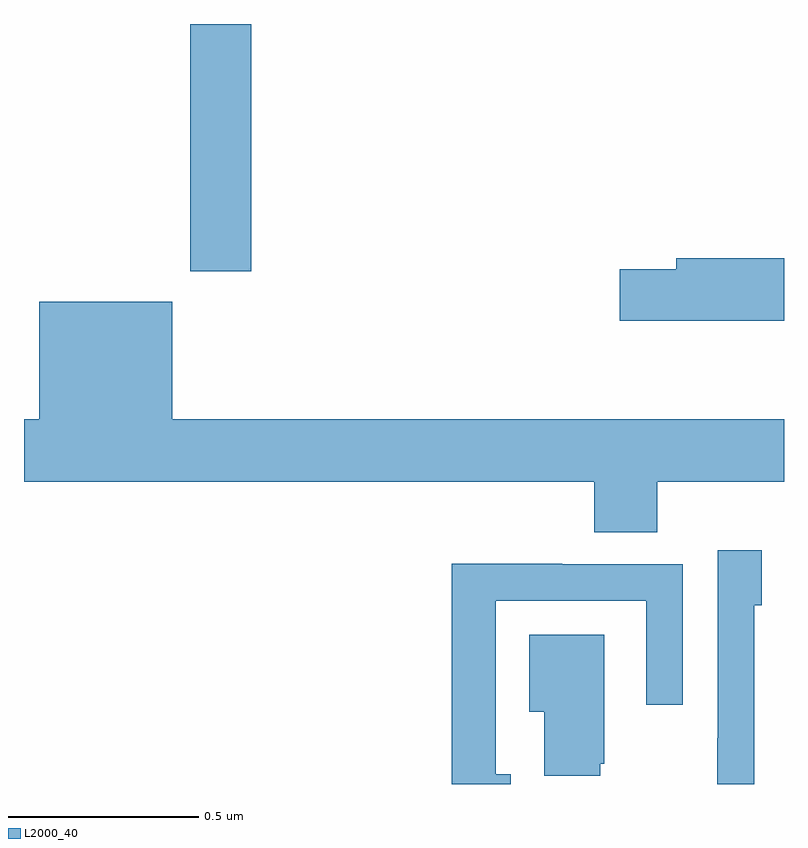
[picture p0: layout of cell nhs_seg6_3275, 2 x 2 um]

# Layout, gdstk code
import gdstk
lib = gdstk.Library(unit=1e-6, precision=1e-09)
def R(c, l, rs):  # rectangles x0, y0, x1, y1
    for r in rs: c.add(gdstk.rectangle(r[:2], r[2:], *l))
def P(c, l, *ps):  # polygons
    for p in ps: c.add(gdstk.Polygon(p, *l))
L2000_40 = (2000, 40)

nhs_seg6_3275 = lib.new_cell('nhs_seg6_3275')
R(nhs_seg6_3275, L2000_40, [(154.438,987.849,154.598,988.5)])
P(nhs_seg6_3275, L2000_40, [(156,987.884),(155.717,987.884),(155.717,987.854),(155.568,987.854),(155.568,987.719),(156,987.719)],
  [(155.666,987.296),(156,987.296),(156,987.46),(154.39,987.46),(154.39,987.769),(154.04,987.769),(154.04,987.46),(154,987.46),(154,987.296),(155.501,987.296),(155.501,987.163),(155.666,987.163)],
  [(155.922,986.97),(155.941,986.97),(155.941,987.115),(155.826,987.115),(155.826,986.621),(155.824,986.621),(155.824,986.5),(155.922,986.5)],
  [(155.281,986.526),(155.241,986.526),(155.241,986.982),(155.637,986.982),(155.637,986.709),(155.733,986.709),(155.733,987.078),(155.417,987.078),(155.417,987.08),(155.125,987.08),(155.125,986.5),(155.281,986.5)],
  [(155.516,986.553),(155.527,986.553),(155.527,986.893),(155.33,986.893),(155.33,986.69),(155.369,986.69),(155.369,986.522),(155.516,986.522)])

lib.write_gds('nhs_seg6_3275.gds')
